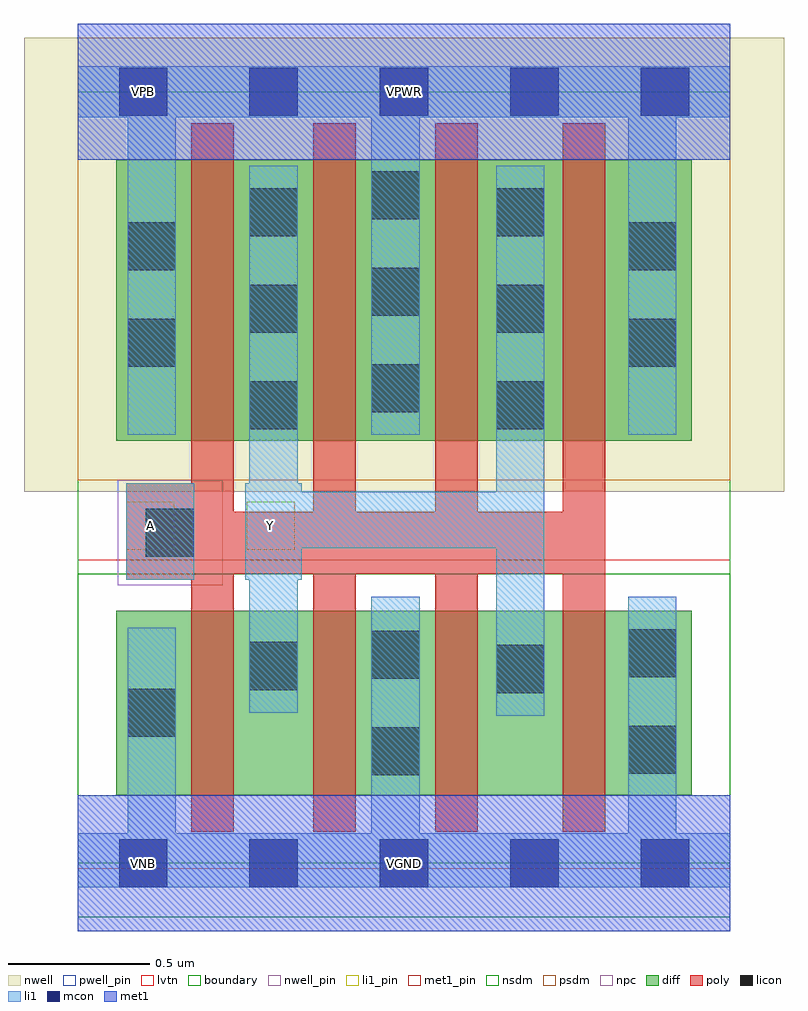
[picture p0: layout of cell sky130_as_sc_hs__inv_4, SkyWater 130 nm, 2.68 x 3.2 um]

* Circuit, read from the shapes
.subckt sky130_as_sc_hs__inv_4 A VGND VNB VPB VPWR Y
XM1 Y A VGND VNB sky130_fd_pr__nfet_01v8_lvt w=0.65 l=0.15 m=4
XM2 Y A VPWR VPB sky130_fd_pr__pfet_01v8 w=0.99 l=0.15 m=4
.ends

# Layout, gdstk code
import gdstk
lib = gdstk.Library(unit=1e-6, precision=1e-09)
def R(c, l, rs):  # rectangles x0, y0, x1, y1
    for r in rs: c.add(gdstk.rectangle(r[:2], r[2:], *l))
def A(c, l, x, y, w, h, nx, ny, dx, dy):  # array of equal rectangles
    R(c, l, [(x+i*dx, y+j*dy, x+i*dx+w, y+j*dy+h) for i in range(nx) for j in range(ny)])
nwell_pin = (64, 16)
nwell = (64, 20)
diff = (65, 20)
poly = (66, 20)
licon = (66, 44)
li1_pin = (67, 16)
li1 = (67, 20)
mcon = (67, 44)
met1_pin = (68, 16)
met1 = (68, 20)
nsdm = (93, 44)
psdm = (94, 20)
npc = (95, 20)
pwell_pin = (122, 16)
lvtn = (125, 44)
boundary = (235, 4)

sky130_as_sc_hs__inv_4 = lib.new_cell('sky130_as_sc_hs__inv_4')
R(sky130_as_sc_hs__inv_4, nwell_pin, [(0.145,2.635,0.315,2.805)])
R(sky130_as_sc_hs__inv_4, nwell, [(-0.19,1.31,2.49,2.91)])
R(sky130_as_sc_hs__inv_4, diff, [(0.135,0.24,2.165,0.89), (0.135,1.49,2.165,2.48)])
R(sky130_as_sc_hs__inv_4, poly, [(0.4,0.11,0.55,1), (0.83,0.11,0.98,1.02), (1.26,0.11,1.41,1.02), (1.71,0.11,1.86,1.02), (0.17,1,0.55,1.02), (0.17,1.02,1.86,1.24), (0.17,1.24,0.55,1.34), (0.83,1.24,0.98,2.61), (1.26,1.24,1.41,2.61), (1.71,1.24,1.86,2.61), (0.4,1.34,0.55,2.61)])
A(sky130_as_sc_hs__inv_4, licon, 0.605, 1.53, 0.17, 0.17, 1, 3, 0, 0.34)
A(sky130_as_sc_hs__inv_4, licon, 1.475, 1.53, 0.17, 0.17, 1, 3, 0, 0.34)
A(sky130_as_sc_hs__inv_4, licon, 1.035, 1.59, 0.17, 0.17, 1, 3, 0, 0.34)
R(sky130_as_sc_hs__inv_4, licon, [(1.035,0.31,1.205,0.48), (1.94,0.315,2.11,0.485), (0.175,0.445,0.345,0.615), (1.475,0.6,1.645,0.77), (0.605,0.61,0.775,0.78), (1.035,0.65,1.205,0.82), (1.94,0.655,2.11,0.825), (0.24,1.08,0.41,1.25), (0.175,1.75,0.345,1.92), (1.94,1.75,2.11,1.92), (0.175,2.09,0.345,2.26), (1.94,2.09,2.11,2.26)])
R(sky130_as_sc_hs__inv_4, li1_pin, [(0.17,1.105,0.34,1.275), (0.595,1.105,0.765,1.275)])
R(sky130_as_sc_hs__inv_4, li1, [(0,-0.085,2.3,0.105), (0.175,0.105,0.345,0.83), (1.035,0.105,1.205,0.94), (1.94,0.105,2.11,0.94), (1.475,0.52,1.645,1.11), (0.605,0.53,0.775,1), (0.17,1,0.41,1.34), (0.59,1,0.79,1.11), (0.59,1.11,1.645,1.31), (0.59,1.31,0.79,1.34), (1.475,1.31,1.645,2.46), (0.605,1.34,0.775,2.46), (0.175,1.51,0.345,2.63), (1.035,1.51,1.205,2.63), (1.94,1.51,2.11,2.63), (0,2.63,2.3,2.81)])
A(sky130_as_sc_hs__inv_4, mcon, 0.145, -0.085, 0.17, 0.17, 5, 2, 0.46, 2.72)
R(sky130_as_sc_hs__inv_4, met1_pin, [(0,-0.24,2.3,0.24), (0.145,-0.085,0.315,0.085), (0,2.48,2.3,2.96), (0.145,2.635,0.315,2.805)])
R(sky130_as_sc_hs__inv_4, met1, [(0,-0.24,2.3,0.24), (0,2.48,2.3,2.96)])
R(sky130_as_sc_hs__inv_4, nsdm, [(0,-0.19,2.3,1.02)])
R(sky130_as_sc_hs__inv_4, psdm, [(0,1.35,2.3,2.91)])
R(sky130_as_sc_hs__inv_4, npc, [(0.14,0.98,0.51,1.35)])
R(sky130_as_sc_hs__inv_4, pwell_pin, [(0.145,-0.085,0.315,0.085)])
R(sky130_as_sc_hs__inv_4, lvtn, [(0,-0.02,2.3,1.07)])
R(sky130_as_sc_hs__inv_4, boundary, [(0,0,2.3,2.72)])
sky130_as_sc_hs__inv_4.add(gdstk.Label('VNB', (0.23,0), layer=64, texttype=59))
sky130_as_sc_hs__inv_4.add(gdstk.Label('VPB', (0.23,2.72), layer=64, texttype=5))
sky130_as_sc_hs__inv_4.add(gdstk.Label('A', (0.255,1.19), layer=67, texttype=5))
sky130_as_sc_hs__inv_4.add(gdstk.Label('Y', (0.68,1.19), layer=67, texttype=5))
sky130_as_sc_hs__inv_4.add(gdstk.Label('VNB', (0.23,0), layer=64, texttype=59))
sky130_as_sc_hs__inv_4.add(gdstk.Label('VPB', (0.23,2.72), layer=64, texttype=5))
sky130_as_sc_hs__inv_4.add(gdstk.Label('VGND', (0.23,0), layer=68, texttype=5))
sky130_as_sc_hs__inv_4.add(gdstk.Label('VGND', (1.15,0), layer=68, texttype=5))
sky130_as_sc_hs__inv_4.add(gdstk.Label('VPWR', (1.15,2.72), layer=68, texttype=5))
sky130_as_sc_hs__inv_4.add(gdstk.Label('VPWR', (0.23,2.72), layer=68, texttype=5))
sky130_as_sc_hs__inv_4.add(gdstk.Label('A', (0.255,1.19), layer=67, texttype=5))
sky130_as_sc_hs__inv_4.add(gdstk.Label('Y', (0.68,1.19), layer=67, texttype=5))

lib.write_gds('sky130_as_sc_hs__inv_4.gds')
